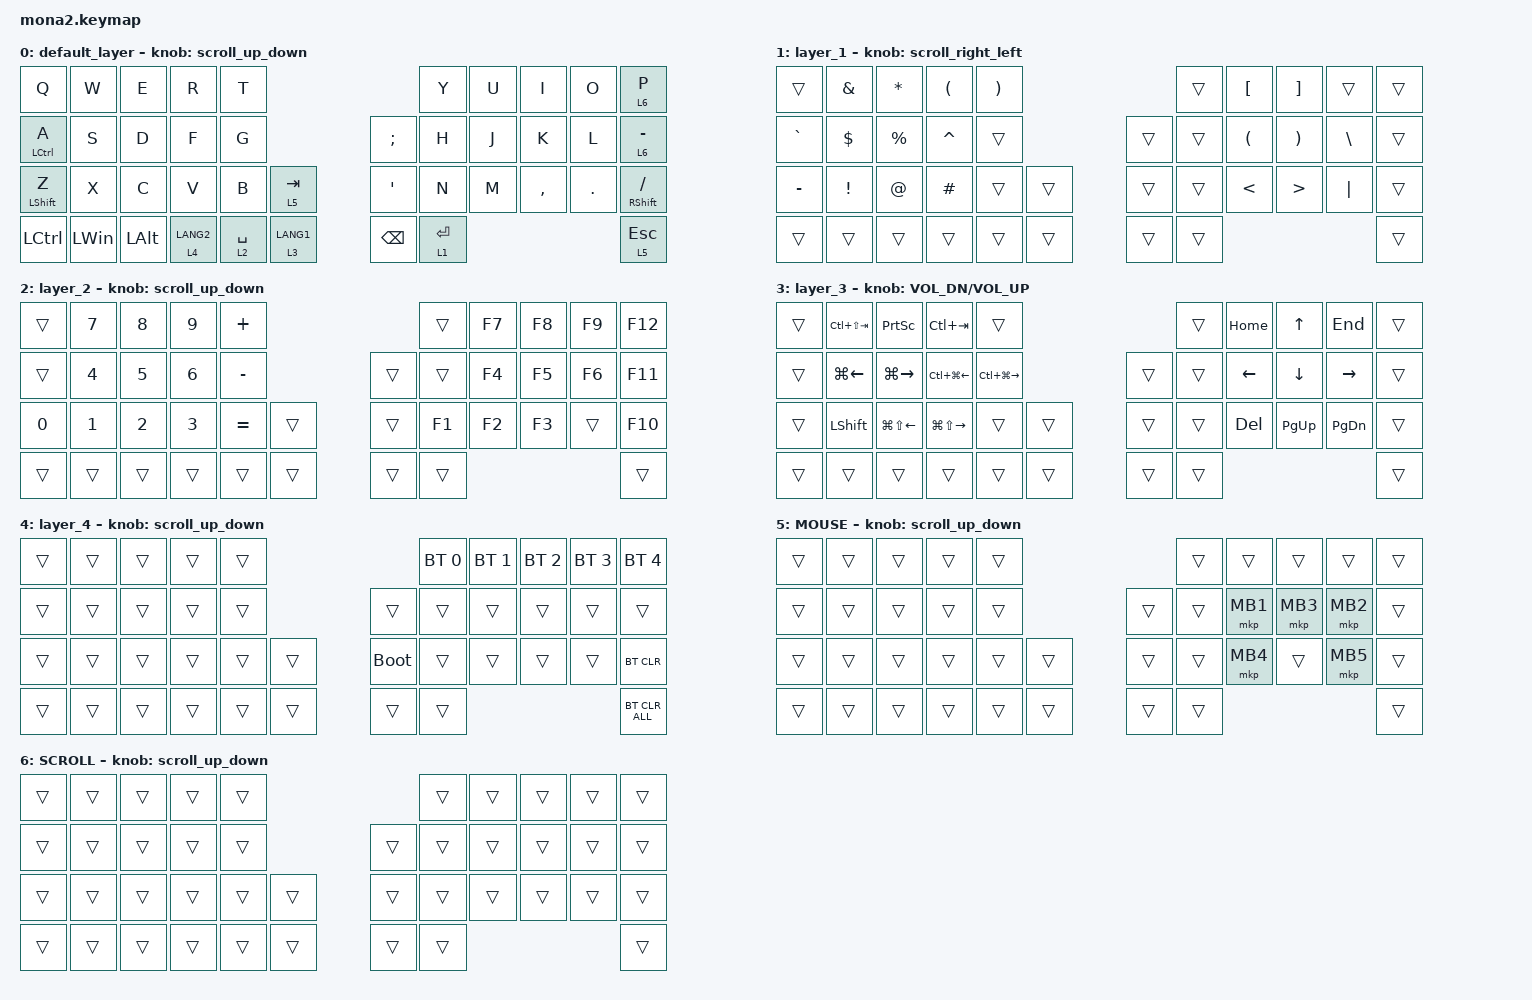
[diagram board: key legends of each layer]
#include <input/processors.dtsi>
#include <dt-bindings/zmk/input_transform.h>
#include <zephyr/dt-bindings/input/input-event-codes.h>
#include <behaviors.dtsi>
#include <dt-bindings/zmk/bt.h>
#include <dt-bindings/zmk/keys.h>
#include <dt-bindings/zmk/pointing.h>

#define ZMK_POINTING_DEFAULT_SCRL_VAL 100
#define MOUSE 5
#define SCROLL 6

&mt {
    flavor = "balanced";
    quick-tap-ms = <0>;
};

&lt {
    quick-tap-ms = <300>;
    tapping-term-ms = <200>;
    flavor = "balanced";
};

&zip_temp_layer {
    excluded-positions = <17 18 19 29 31>;
    require-prior-idle-ms = <200>;
};

/ {
    combos {
        compatible = "zmk,combos";

        layer4_ESC {
            bindings = <&lt 4 ESC>;
            key-positions = <39 38>;
        };

        tab {
            bindings = <&kp TAB>;
            key-positions = <11 12>;
        };
    };

    macros {
        to_layer_0: to_layer_0 {
            compatible = "zmk,behavior-macro-one-param";
            #binding-cells = <1>;
            bindings = <&to 0 &macro_param_1to1 &kp MACRO_PLACEHOLDER>;
            label = "TO_LAYER_0";
        };
    };

    behaviors {
        lt_to_layer_0: lt_to_layer_0 {
            compatible = "zmk,behavior-hold-tap";
            label = "LAYER_TAP_TO_0";
            bindings = <&mo>, <&to_layer_0>;

            #binding-cells = <2>;
            tapping-term-ms = <200>;
        };

        scroll_up_down: mouse_wheel_up_down {
            compatible = "zmk,behavior-sensor-rotate";
            #sensor-binding-cells = <0>;
            bindings = <&msc SCRL_DOWN>, <&msc SCRL_UP>;

            tap-ms = <20>;
        };

        scroll_right_left: mouse_wheel_right_left {
            compatible = "zmk,behavior-sensor-rotate";
            #sensor-binding-cells = <0>;
            bindings = <&msc SCRL_LEFT>, <&msc SCRL_RIGHT>;

            tap-ms = <20>;
        };
    };

    keymap {
        compatible = "zmk,keymap";

        default_layer {
            bindings = <
&kp Q             &kp W         &kp E         &kp R        &kp T                                      &kp Y        &kp U  &kp I      &kp O    &lt_to_layer_0 6 P
&mt LCTRL A       &kp S         &kp D         &kp F        &kp G                       &kp SEMICOLON  &kp H        &kp J  &kp K      &kp L    &lt 6 MINUS
&mt LEFT_SHIFT Z  &kp X         &kp C         &kp V        &kp B        &lt 5 TAB      &kp SQT        &kp N        &kp M  &kp COMMA  &kp DOT  &mt RIGHT_SHIFT SLASH
&kp LCTRL         &kp LEFT_WIN  &kp LEFT_ALT  &lt 4 LANG2  &lt 2 SPACE  &lt 3 LANG1    &kp BACKSPACE  &lt 1 ENTER                             &lt 5 ESC
            >;

            sensor-bindings = <&scroll_up_down>;
        };

        layer_1 {
            bindings = <
&trans       &kp AMPERSAND     &kp ASTERISK  &kp LEFT_PARENTHESIS  &kp RIGHT_PARENTHESIS               &trans  &kp LEFT_BRACKET  &kp RIGHT_BRACKET  &trans         &trans
&kp GRAVE    &kp DOLLAR        &kp PERCENT   &kp CARET               &trans                      &trans   &trans  &kp LEFT_PARENTHESIS  &kp RIGHT_PARENTHESIS  &kp BACKSLASH  &trans
&kp MINUS    &kp EXCLAMATION   &kp AT_SIGN   &kp HASH                &trans          &trans    &trans  &trans  &kp LESS_THAN         &kp GREATER_THAN       &kp PIPE       &trans
&trans       &trans            &trans        &trans                   &trans          &trans    &trans  &trans                                          &trans
            >;

            sensor-bindings = <&scroll_right_left>;
        };

        layer_2 {
            bindings = <
&trans        &kp NUMBER_7  &kp NUMBER_8  &kp NUMBER_9  &kp PLUS                  &trans  &kp F7  &kp F8  &kp F9  &kp F12
&trans        &kp NUMBER_4  &kp NUMBER_5  &kp NUMBER_6  &kp MINUS         &trans   &trans  &kp F4  &kp F5  &kp F6  &kp F11
&kp NUMBER_0  &kp NUMBER_1  &kp NUMBER_2  &kp NUMBER_3  &kp EQUAL  &trans  &trans  &kp F1  &kp F2  &kp F3  &trans  &kp F10
&trans        &trans        &trans        &trans        &trans     &trans  &trans  &trans                         &trans
            >;

            sensor-bindings = <&scroll_up_down>;
        };

        layer_3 {
            bindings = <
&trans  &kp LC(LS(TAB))     &kp PRINTSCREEN         &kp LC(TAB)              &trans                                     &trans  &kp HOME        &kp UP_ARROW    &kp END          &trans
&trans  &kp LG(LEFT_ARROW)  &kp LG(RIGHT_ARROW)     &kp LC(LG(LEFT_ARROW))   &kp LC(LG(RIGHT_ARROW))            &trans  &trans  &kp LEFT_ARROW  &kp DOWN_ARROW  &kp RIGHT_ARROW  &trans
&trans  &kp LEFT_SHIFT      &kp LG(LS(LEFT_ARROW))  &kp LG(LS(RIGHT_ARROW))  &trans                   &trans    &trans  &trans  &kp DELETE      &kp PAGE_UP     &kp PAGE_DOWN    &trans
&trans  &trans              &trans                  &trans                   &trans                   &trans    &trans  &trans                                                   &trans
            >;

            sensor-bindings = <&inc_dec_kp C_VOL_DN C_VOL_UP>;
        };

        layer_4 {
            bindings = <
&trans  &trans  &trans  &trans  &trans                         &bt BT_SEL 0  &bt BT_SEL 1  &bt BT_SEL 2  &bt BT_SEL 3  &bt BT_SEL 4
&trans  &trans  &trans  &trans  &trans            &trans       &trans        &trans        &trans        &trans        &trans
&trans  &trans  &trans  &trans  &trans  &trans    &bootloader  &trans        &trans        &trans        &trans        &bt BT_CLR
&trans  &trans  &trans  &trans  &trans  &trans    &trans       &trans                                                  &bt BT_CLR_ALL
            >;

            sensor-bindings = <&scroll_up_down>;
        };

        MOUSE {
            bindings = <
&trans  &trans  &trans  &trans  &trans                    &trans  &trans    &trans    &trans    &trans
&trans  &trans  &trans  &trans  &trans            &trans  &trans  &mkp MB1  &mkp MB3  &mkp MB2  &trans
&trans  &trans  &trans  &trans  &trans  &trans    &trans  &trans  &mkp MB4  &trans    &mkp MB5  &trans
&trans  &trans  &trans  &trans  &trans  &trans    &trans  &trans                                &trans
            >;

            sensor-bindings = <&scroll_up_down>;
        };

        SCROLL {
            bindings = <
&trans  &trans  &trans  &trans  &trans                    &trans  &trans  &trans  &trans  &trans
&trans  &trans  &trans  &trans  &trans            &trans  &trans  &trans  &trans  &trans  &trans
&trans  &trans  &trans  &trans  &trans  &trans    &trans  &trans  &trans  &trans  &trans  &trans
&trans  &trans  &trans  &trans  &trans  &trans    &trans  &trans                          &trans
            >;

            sensor-bindings = <&scroll_up_down>;
        };
    };
};
